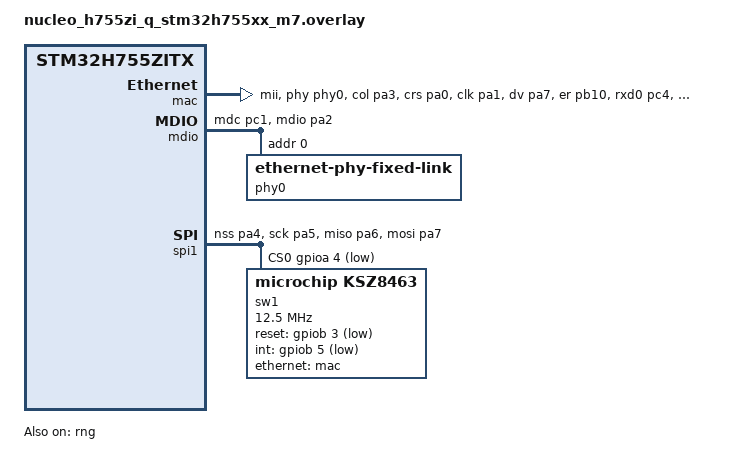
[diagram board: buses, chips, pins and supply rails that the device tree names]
/*
 * Copyright (c) 2026 Vilhelm Engström
 *
 * SPDX-License-Identifier: Apache-2.0
 *
 * Example of how to configure the Microchip KSZ8463 switch for use with
 * STMicroelectronics's Nucleo H755ZI-Q board. This particular file assumes the
 * switch is connected to spi1 and is written for the KSz8463ML evaluation kit,
 * the host port of which uses MII. To use RMII, change the phy-connection-type
 * property of the CPU port node to "rmii" and mux the appropriate pins.
 *
 * Note that the Nucleo board comes with a LAN8742A PHY that needs to be removed
 * in order to connect said board to the KSZ8463ML evaluation kit via the MII
 * lines. See the README for this sample for more information.
 */

#include <st/h7/stm32h755zitx-pinctrl.dtsi>
#include <zephyr/dt-bindings/pinctrl/stm32-pinctrl.h>
#include <zephyr/dt-bindings/ethernet/dsa_tag_proto.h>

&mac {
	pinctrl-0 = <&eth_mii_col_pa3
		     &eth_mii_crs_pa0
		     &eth_mii_rx_clk_pa1
		     &eth_mii_rx_dv_pa7
		     &eth_mii_rx_er_pb10
		     &eth_mii_rxd0_pc4
		     &eth_mii_rxd1_pc5
		     &eth_mii_rxd2_pb0
		     &eth_mii_rxd3_pb1
		     &eth_mii_tx_clk_pc3
		     &eth_mii_tx_en_pb11
		     &eth_mii_txd0_pb12
		     &eth_mii_txd1_pb13
		     &eth_mii_txd2_pc2
		     &eth_mii_txd3_pb8
		     &eth_mii_tx_er_pb2>;
	pinctrl-names = "default";

	phy-handle = <&phy0>;

	/* KSZ8463ML uses MII */
	phy-connection-type = "mii";

	status = "okay";
};

&mdio {
	pinctrl-0 = <&eth_mdc_pc1
		     &eth_mdio_pa2>;
	pinctrl-names = "default";

	status = "okay";

	/* PHY for CPU port */
	phy0: ethernet-phy@0 {
		/* Know the capabilities of both the MAC transceiver and
		 * the switch, no sense attempting to negotiate speeds
		 */
		compatible = "ethernet-phy-fixed-link";

		/* KSZ8463 capped at 100Mbps, Full-Duplex */
		default-speeds = "100BASE Full-Duplex";

		reg = <0>;
		status = "okay";
	};
};

&pinctrl {
	eth_mdc_pc1: eth_mdc_pc1 {
		pinmux = <STM32_PINMUX('C', 1, AF11)>; /* ETH_MDC */
	};

	eth_mdio_pa2: eth_mdio_pa2 {
		pinmux = <STM32_PINMUX('A', 2, AF11)>; /* ETH_MDIO */
	};

	eth_mii_col_pa3: eth_mii_col_pa3 {
		pinmux = <STM32_PINMUX('A', 3, AF11)>; /* ETH_MII_COL */
	};

	eth_mii_crs_pa0: eth_mii_crs_pa0 {
		pinmux = <STM32_PINMUX('A', 0, AF11)>; /* ETH_MII_CRS */
	};

	eth_mii_rx_clk_pa1: eth_mii_rx_clk_pa1 {
		pinmux = <STM32_PINMUX('A', 1, AF11)>; /* ETH_MII_RX_CLK */
	};

	eth_mii_rx_dv_pa7: eth_mii_rx_dv_pa7 {
		pinmux = <STM32_PINMUX('A', 7, AF11)>; /* ETH_MII_RX_DV */
	};

	eth_mii_rx_er_pb10: eth_mii_rx_er_pb10 {
		pinmux = <STM32_PINMUX('B', 10, AF11)>; /* ETH_MII_RX_ER */
	};

	eth_mii_rxd0_pc4: eth_mii_rxd0_pc4 {
		pinmux = <STM32_PINMUX('C', 4, AF11)>; /* ETH_MII_RXD0 */
	};

	eth_mii_rxd1_pc5: eth_mii_rxd1_pc5 {
		pinmux = <STM32_PINMUX('C', 5, AF11)>; /* ETH_MII_RXD1 */
	};

	eth_mii_rxd2_pb0: eth_mii_rxd2_pb0 {
		pinmux = <STM32_PINMUX('B', 0, AF11)>; /* ETH_MII_RXD2 */
	};

	eth_mii_rxd3_pb1: eth_mii_rxd3_pb1 {
		pinmux = <STM32_PINMUX('B', 1, AF11)>; /* ETH_MII_RXD3 */
	};

	eth_mii_tx_clk_pc3: eth_mii_tx_clk_pc3 {
		pinmux = <STM32_PINMUX('C', 3, AF11)>; /* ETH_MII_TX_CLK */
	};

	eth_mii_tx_en_pb11: eth_mii_tx_en_pb11 {
		pinmux = <STM32_PINMUX('B', 11, AF11)>; /* ETH_MII_TX_EN */
	};

	eth_mii_tx_er_pb2: eth_mii_tx_er_pb2 {
		pinmux = <STM32_PINMUX('B', 2, AF11)>; /* ETH_TX_ER */
	};

	eth_mii_txd0_pb12: eth_mii_txd0_pb12 {
		pinmux = <STM32_PINMUX('B', 12, AF11)>; /* ETH_MII_TXD0 */
	};

	eth_mii_txd1_pb13: eth_mii_txd1_pb13 {
		pinmux = <STM32_PINMUX('B', 13, AF11)>; /* ETH_MII_TXD1 */
	};

	eth_mii_txd2_pc2: eth_mii_txd2_pc2 {
		pinmux = <STM32_PINMUX('C', 2, AF11)>; /* ETH_MII_TXD2 */
	};

	eth_mii_txd3_pb8: eth_mii_txd3_pb8 {
		pinmux = <STM32_PINMUX('B', 8, AF11)>; /* ETH_MII_TXD3 */
	};

	spi1_nss_pa4: spi1_nss_pa4 {
		pinmux = <STM32_PINMUX('A', 4, AF5)>; /* SPI1_NSS */
	};

	spi1_sck_pa5: spi1_sck_pa5 {
		pinmux = <STM32_PINMUX('A', 5, AF5)>; /* SPI1_SCK */
	};

	spi1_miso_pa6: spi1_miso_pa6 {
		pinmux = <STM32_PINMUX('A', 6, AF5)>; /* SPI1_MISO */
	};

	spi1_mosi_pa7: spi1_mosi_pa7 {
		pinmux = <STM32_PINMUX('A', 7, AF5)>; /* SPI1_MOSI */
	};

	sw1_rst_pb3: sw1_rst_pb3 {
		pinmux = <STM32_PINMUX('B', 3, GPIO)>; /* GPIO */
	};

	sw1_irq_pb5: sw1_irq_pb5 {
		pinmux = <STM32_PINMUX('B', 5, GPIO)>; /* GPIO */
	};
};

/* For sys_rand_get */
&rng {
	status = "okay";
};

/* Switch connected to SPI bus 1 */
&spi1 {
	cs-gpios = <&gpioa 4 GPIO_ACTIVE_LOW>;

	pinctrl-0 = <&spi1_nss_pa4
		     &spi1_sck_pa5
		     &spi1_miso_pa6
		     &spi1_mosi_pa7>;
	pinctrl-names = "default";

	status = "okay";

	sw1: ethernet-switch@0 {
		compatible = "microchip,ksz8463";

		/* Chip-select 0 */
		reg = <0>;

		#address-cells = <1>;
		#size-cells = <0>;

		spi-max-frequency = <DT_FREQ_K(12500)>;

		/* Hardware reset is active low */
		reset-gpios = <&gpiob 3 GPIO_ACTIVE_LOW>;

		/* Interrupt output is active low */
		int-gpios = <&gpiob 5 GPIO_ACTIVE_LOW>;

		/* Enable IGMP snooping */
		microchip,igmp-snoop-en;

		/* Enable MLD snooping */
		microchip,mld-snoop-en;

		status = "okay";

		/* User port 1 */
		sw1_port1: port@0 {
			compatible = "zephyr,dsa-port";
			reg = <0>;

			/* Use random MAC */
			zephyr,random-mac-address;

			status = "okay";

			/* Internal PHY */
			phy {
				compatible = "microchip,ksz8463-phy";

				/* Fall back on 10BASE Half-Duplex on auto-negotiation failure */
				microchip,fixed-link-speed = "10BASE Half-Duplex";

				status = "okay";
			};
		};

		/* User port 2 */
		sw1_port2: port@1 {
			compatible = "zephyr,dsa-port";
			reg = <1>;

			zephyr,random-mac-address;

			status = "okay";

			/* Internal PHY */
			phy {
				compatible = "microchip,ksz8463-phy";

				/* Fall back on 100BASE Full-Duplex on auto-negotiation failure */
				microchip,fixed-link-speed = "100BASE Full-Duplex";

				status = "okay";
			};
		};

		/* CPU port */
		sw1_port3: port@2 {
			compatible = "zephyr,dsa-port";
			reg = <2>;

			/* Port is connected to the STM MAC */
			ethernet = <&mac>;

			/* KSZ8463ML uses MII */
			phy-connection-type = "mii";

			/* Enable tail tagging */
			dsa-tag-protocol = <DSA_TAG_PROTO_KSZ8463>;

			status = "okay";
		};
	};
};
